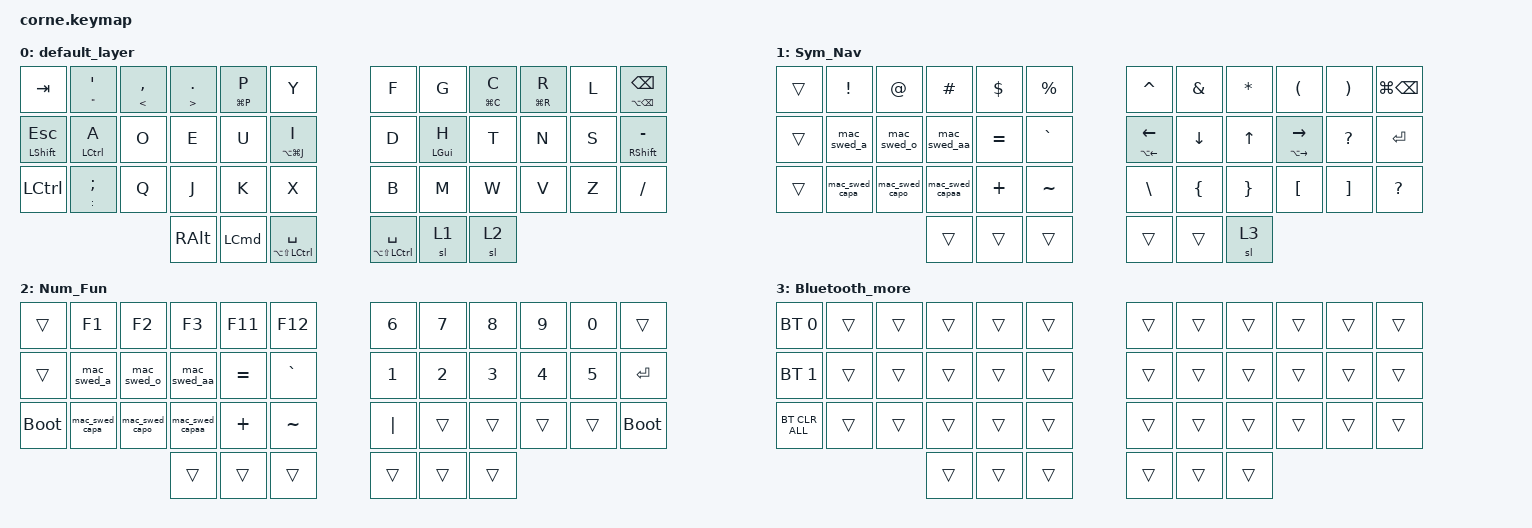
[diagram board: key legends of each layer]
/*
 * Copyright (c) 2020 The ZMK Contributors
 *
 * SPDX-License-Identifier: MIT
 */

#include <behaviors.dtsi>
#include <dt-bindings/zmk/bt.h>
#include <dt-bindings/zmk/keys.h>

/ {
    behaviors {
        hm: homerow_mods {
            compatible = "zmk,behavior-hold-tap";
            label = "HOMEROW_MODS";
            #binding-cells = <2>;
            tapping-term-ms = <200>;
            quick-tap-ms = <0>;
            flavor = "tap-preferred";
            bindings = <&kp>, <&kp>;
        };

        td_left: td_left {
            compatible = "zmk,behavior-tap-dance";
            label = "TD_LEFT";
            #binding-cells = <0>;
            tapping-term-ms = <200>;
            bindings = <&kp LA(LEFT_ARROW)>;
        };

        td_right: td_right {
            compatible = "zmk,behavior-tap-dance";
            label = "TD_RIGHT";
            #binding-cells = <0>;
            bindings = <&kp RIGHT_ARROW>, <&kp LA(RIGHT_ARROW)>;

            tapping-term-ms = <200>;
        };
    };

    macros {
        mac_swed_a: mac_swed_a {
            label = "mac_swed_a";
            compatible = "zmk,behavior-macro";
            #binding-cells = <0>;
            bindings = <&macro_tap>, <&kp RA(A)>;
        };

        mac_swed_o: mac_swed_o {
            label = "mac_swed_o";
            compatible = "zmk,behavior-macro";
            #binding-cells = <0>;
            bindings = <&macro_tap>, <&kp RA(U) &kp O>;
        };

        mac_swed_aa: mac_swed_aa {
            label = "mac_swed_aa";
            compatible = "zmk,behavior-macro";
            #binding-cells = <0>;
            bindings = <&macro_tap>, <&kp RA(U) &kp A>;
        };

        mac_swed_capa: mac_swed_capa {
            label = "mac_swed_capa";
            compatible = "zmk,behavior-macro";
            #binding-cells = <0>;
            bindings = <&macro_tap>, <&kp LS(RA(A))>;
        };

        mac_swed_capo: mac_swed_capo {
            label = "mac_swed_capo";
            compatible = "zmk,behavior-macro";
            #binding-cells = <0>;
            bindings = <&macro_tap>, <&kp RA(U) &kp LS(O)>;
        };

        mac_swed_capaa: mac_swed_capaa {
            label = "mac_swed_capaa";
            compatible = "zmk,behavior-macro";
            #binding-cells = <0>;
            bindings = <&macro_tap>, <&kp RA(U) &kp LS(A)>;
        };
    };

    keymap {
        compatible = "zmk,keymap";

        default_layer {
            // -----------------------------------------------------------------------------------------
            // |  TAB |  Q  |  W  |  E  |  R  |  T  |   |  Y  |  U   |  I  |  O  |  P  | BKSP |
            // | ESC  |  A  |  S  |  D  |  F  |  G  |   |  H  |  J   |  K  |  L  |  ;  |  '   |
            // | CTRL |  Z  |  X  |  C  |  V  |  B  |   |  N  |  M   |  ,  |  .  |  /  | CTRL  |
            //                    | ALT | LCMD | L2 |   | SPC/SHIFT | L1  | L3 |

            bindings = <
&kp TAB                &hm DOUBLE_QUOTES SINGLE_QUOTE  &hm LT COMMA  &hm GT DOT     &hm LG(P) P       &kp Y                      &kp F                    &kp G           &hm LG(C) C  &hm LG(R) R  &kp L  &hm LA(BACKSPACE) BACKSPACE
&mt LEFT_SHIFT ESCAPE  &hm LEFT_CONTROL A              &kp O         &kp E          &kp U             &hm LA(LG(J)) I            &kp D                    &hm LEFT_GUI H  &kp T        &kp N        &kp S  &mt RIGHT_SHIFT MINUS
&kp LCTRL              &hm COLON SEMI                  &kp Q         &kp J          &kp K             &kp X                      &kp B                    &kp M           &kp W        &kp V        &kp Z  &kp FSLH
                                                                     &kp RIGHT_ALT  &kp LEFT_COMMAND  &mt LA(LS(LCTRL)) SPACE    &mt LA(LS(LCTRL)) SPACE  &sl 1           &sl 2
            >;
        };

        Sym_Nav {
            // -----------------------------------------------------------------------------------------
            // |  TAB |  !  |  @  |  #  |  $  |  %  |   |  ^  |  &  |  *  |  (  |  )  | RA(BKSP) |
            // | ESC  |  å  |  ö  |  ä  |     |     |   | LFT | DWN |  UP | RGT |     |      |
            // | SHFT |  Å  |  Ö  |  Ä  |     |     |   |     |     |     |     |     |      |
            //                    | GUI |     | SPC |   | ENT |     | ALT |

            bindings = <
&trans  &kp EXCL        &kp AT          &kp HASH         &kp DLLR   &kp PRCNT    &kp CARET          &kp AMPS  &kp STAR  &kp LPAR             &kp RPAR      &kp LG(BSPC)
&trans  &mac_swed_a     &mac_swed_o     &mac_swed_aa     &kp EQUAL  &kp GRAVE    &hm LA(LEFT) LEFT  &kp DOWN  &kp UP    &hm LA(RIGHT) RIGHT  &kp QUESTION  &kp ENTER
&trans  &mac_swed_capa  &mac_swed_capo  &mac_swed_capaa  &kp PLUS   &kp TILDE    &kp BSLH           &kp LBRC  &kp RBRC  &kp LBKT             &kp RBKT      &kp QUESTION
                                        &trans           &trans     &trans       &trans             &trans    &sl 3
            >;
        };

        Num_Fun {
            bindings = <
&trans       &kp F1          &kp F2          &kp F3           &kp F11    &kp F12      &kp NUMBER_6  &kp NUMBER_7  &kp NUMBER_8  &kp NUMBER_9  &kp NUMBER_0  &trans
&trans       &mac_swed_a     &mac_swed_o     &mac_swed_aa     &kp EQUAL  &kp GRAVE    &kp NUMBER_1  &kp NUMBER_2  &kp NUMBER_3  &kp NUMBER_4  &kp NUMBER_5  &kp ENTER
&bootloader  &mac_swed_capa  &mac_swed_capo  &mac_swed_capaa  &kp PLUS   &kp TILDE    &kp PIPE      &trans        &trans        &trans        &trans        &bootloader
                                             &trans           &trans     &trans       &trans        &trans        &trans
            >;
        };

        Bluetooth_more {
            bindings = <
&bt BT_SEL 0    &trans  &trans  &trans  &trans  &trans    &trans  &trans  &trans  &trans  &trans  &trans
&bt BT_SEL 1    &trans  &trans  &trans  &trans  &trans    &trans  &trans  &trans  &trans  &trans  &trans
&bt BT_CLR_ALL  &trans  &trans  &trans  &trans  &trans    &trans  &trans  &trans  &trans  &trans  &trans
                                &trans  &trans  &trans    &trans  &trans  &trans
            >;
        };
    };
};
